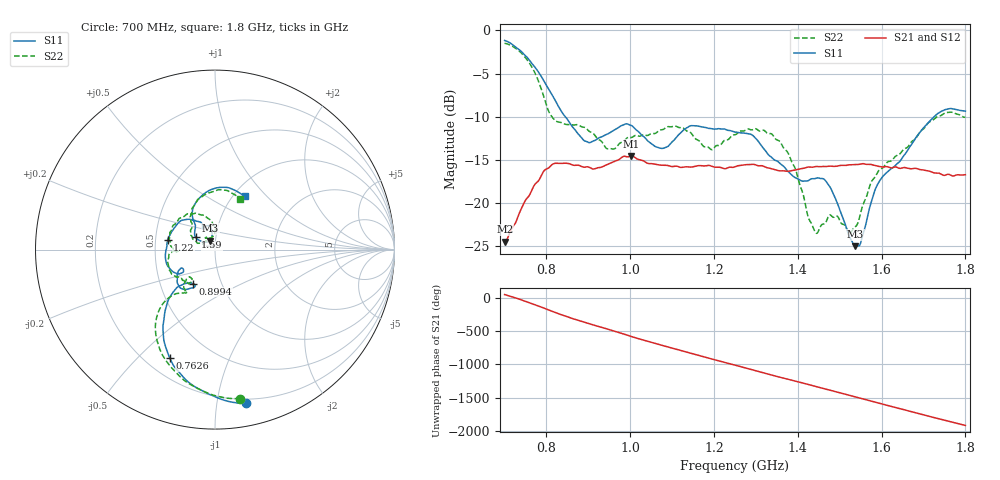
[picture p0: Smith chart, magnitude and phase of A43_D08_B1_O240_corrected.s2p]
! Created with skrf 1.9.0 (http://scikit-rf.org).
# Hz S RI R 50.0
!freq ReS11 ImS11 ReS21 ImS21 ReS12 ImS12 ReS22 ImS22
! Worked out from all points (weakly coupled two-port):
!   1601 points, 700 MHz to 1.8 GHz, reference 50 ohm
!   highest |S21| = -14.53 dB at 1.002 GHz (marker M1); lowest = -24.4 dB at 700.7 MHz (marker M2)
!   lowest |S11| = -25.0 dB at 1.537 GHz (marker M3), VSWR 1.12, Z = 47.3 + j4.8 ohm
!   |S11| at or under -10 dB: 844.9 MHz to 1.725 GHz (880.2 MHz wide, 68.5 % of centre)
!   |S22| runs from -23.5 to -1.5 dB; largest |S21 - S12| = 0.0036
!   S11 on the Smith chart (normalised r, x): 700 MHz: 0.17, -1.21; 762.6 MHz: 0.30, -0.63; 899.4 MHz: 0.73, -0.29; 1.22 GHz: 0.58, +0.06; 1.59 GHz: 0.80, +0.11; 1.8 GHz: 1.12, +0.76
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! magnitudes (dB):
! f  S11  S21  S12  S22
! 700 MHz  -1.2  -24.4  -24.2  -1.5
! 700.7 MHz  -1.2  -24.4  -24.1  -1.5
! 762.6 MHz  -3.7  -18.8  -18.7  -4.0
! 815.5 MHz  -7.6  -15.5  -15.5  -10.2
! 883.6 MHz  -12.4  -15.7  -15.6  -11.1
! 899.4 MHz  -12.9  -15.8  -15.8  -11.6
! 947.5 MHz  -12.0  -15.5  -15.5  -13.7
! 1.002 GHz  -11.0  -14.5  -14.6  -12.4
! 1.067 GHz  -13.6  -15.6  -15.5  -11.6
! 1.143 GHz  -11.0  -15.8  -15.8  -11.8
! 1.22 GHz  -11.4  -15.9  -16.0  -13.0
! 1.25 GHz  -11.8  -15.8  -15.7  -12.1
! 1.357 GHz  -15.4  -16.3  -16.2  -12.9
! 1.394 GHz  -17.0  -16.2  -16.1  -16.0
! 1.434 GHz  -17.2  -15.8  -15.8  -22.5
! 1.474 GHz  -17.9  -15.7  -15.7  -21.4
! 1.537 GHz  -25.0  -15.5  -15.5  -22.7
! 1.551 GHz  -24.4  -15.4  -15.5  -20.9
! 1.59 GHz  -17.9  -15.7  -15.7  -16.5
! 1.617 GHz  -16.2  -15.8  -15.8  -15.2
! 1.733 GHz  -9.7  -16.5  -16.5  -10.0
! 1.8 GHz  -9.4  -16.7  -16.7  -10.1
